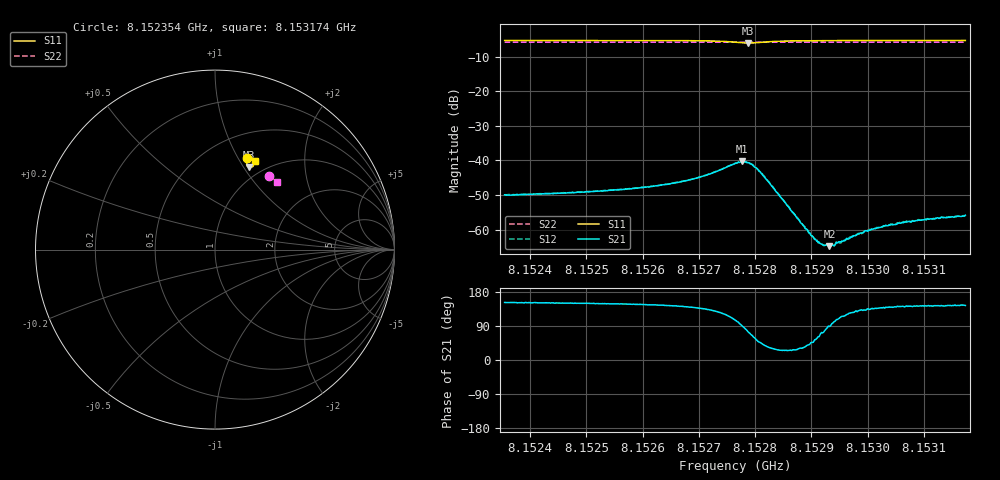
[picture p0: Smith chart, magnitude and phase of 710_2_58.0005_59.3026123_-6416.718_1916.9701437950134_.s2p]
#  HZ  S  RI  R  50.00
! Rohde & Schwarz Vector Network Analyzer
! Rohde-Schwarz,ZNB20-2Port,1311601062101988,3.16
! Created: UTC 3/21/2024, 1:22:08 AM
! freq[Hz]  re:S11  im:S11  re:S21  im:S21  re:S12  im:S12  re:S22  im:S22
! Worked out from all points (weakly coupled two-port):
!   401 points, 8.152354 GHz to 8.153174 GHz, reference 50 ohm
!   highest |S21| = -40.29 dB at 8.152776 GHz (marker M1); lowest = -64.8 dB at 8.152932 GHz (marker M2)
!   lowest |S11| = -6.1 dB at 8.152787 GHz (marker M3), VSWR 2.97, Z = 43.6 + j53 ohm
!   |S11| at or under -10 dB: nowhere
!   |S22| runs from -5.9 to -5.8 dB; largest |S21 - S12| = 0.00025
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8.1523545e9  0.1799 0.5096  -0.00281 0.00151  -0.00279 0.00156  0.3033 0.4115
8.1524917e9  0.1905 0.5057  -0.00302 0.00177  -0.003 0.00181  0.3103 0.4062
8.1525654e9  0.1968 0.503  -0.00324 0.00205  -0.00324 0.00211  0.3141 0.4032
8.1526289e9  0.2029 0.4997  -0.00356 0.0025  -0.00355 0.00257  0.3171 0.4005
8.1526965e9  0.2113 0.4926  -0.00414 0.00377  -0.0041 0.00385  0.3204 0.3975
8.1527231e9  0.2151 0.4864  -0.00428 0.00494  -0.00424 0.00504  0.3218 0.3963
8.1527641e9  0.2124 0.465  -0.00244 0.00869  -0.00238 0.00875  0.3233 0.394
8.1527764e9  0.2027 0.4581  -0.000129 0.00967  -0.000106 0.00962  0.3233 0.3933
8.1527866e9  0.1909 0.4579  0.00232 0.00899  0.00238 0.00913  0.3236 0.393
8.1527989e9  0.1795 0.4662  0.0042 0.00686  0.00442 0.00695  0.3237 0.393
8.1528153e9  0.1763 0.4808  0.00455 0.0038  0.00467 0.00382  0.3246 0.393
8.1529013e9  0.1986 0.4987  0.000563 0.000585  0.000545 0.000591  0.3296 0.3898
8.1529095e9  0.1997 0.4989  0.000372 0.000572  0.000412 0.000609  0.3301 0.3893
8.1529177e9  0.201 0.4989  0.000187 0.000595  0.000241 0.000583  0.3305 0.389
8.1529238e9  0.2019 0.4986  0.000124 0.000582  0.000169 0.000568  0.3307 0.3889
8.152932e9  0.2031 0.4986  1.64e-05 0.000578  -1.01e-05 0.0006  0.3311 0.3884
8.1529381e9  0.2039 0.4984  -8.12e-05 0.000592  -6.37e-05 0.000624  0.3316 0.3881
8.1529996e9  0.2108 0.4972  -0.000674 0.00067  -0.000672 0.00072  0.3346 0.3855
8.1530385e9  0.2145 0.496  -0.000894 0.000757  -0.000891 0.000763  0.3365 0.384
8.1530651e9  0.2168 0.4952  -0.000986 0.000819  -0.000993 0.000813  0.3377 0.3828
8.1531061e9  0.2202 0.494  -0.00115 0.000867  -0.00116 0.000866  0.3396 0.3809
8.1531737e9  0.2252 0.4921  -0.00131 0.000956  -0.00127 0.000922  0.3427 0.378
